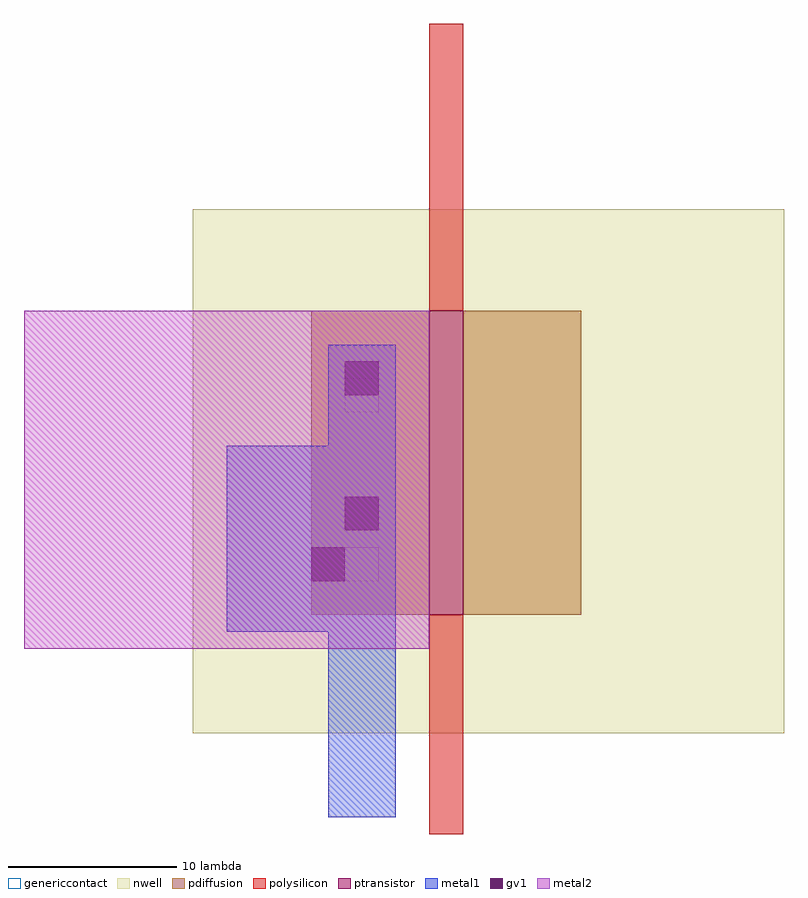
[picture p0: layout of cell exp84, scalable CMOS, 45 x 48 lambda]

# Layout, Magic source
magic
tech scmos
<< nwell >>
rect -9 -5 26 26
<< ptransistor >>
rect 5 2 7 20
<< pdiffusion >>
rect -2 2 5 20
rect 7 2 14 20
<< polysilicon >>
rect 5 20 7 37
rect 5 -11 7 2
<< genericcontact >>
rect 0 14 2 16
rect 0 4 2 6
<< metal1 >>
rect -1 12 3 18
rect -7 1 3 12
rect -1 -10 3 1
<< metal2 >>
rect -19 0 5 20
<< gv1 >>
rect 0 15 2 17
rect 0 7 2 9
rect -2 4 0 6
<< end >>
